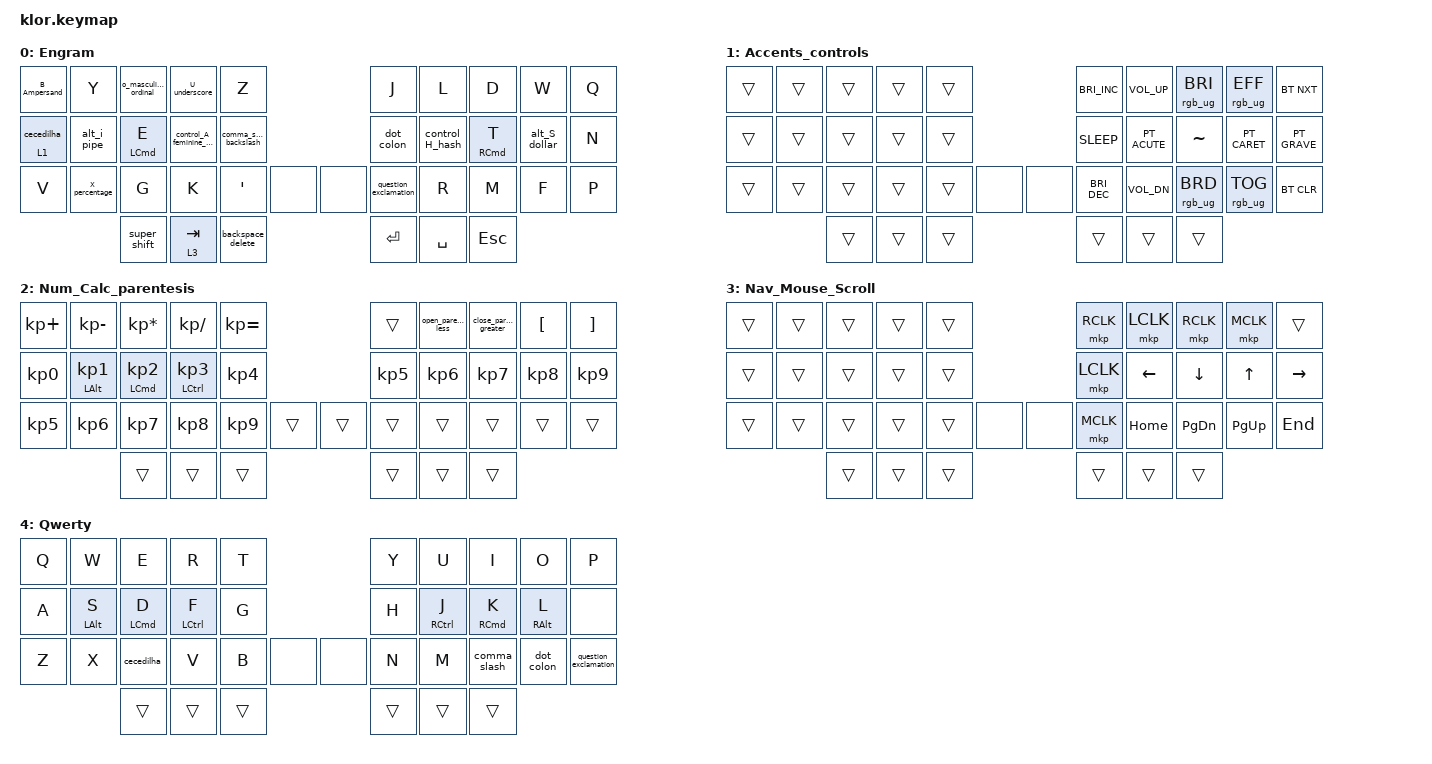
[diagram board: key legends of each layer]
//                               █         █    █            ▄▄▄▀▀▀▀▀▀▄▄▄        █▀▀▀▀▀▀▀▀▀▀█
//                               █        █     █          ▄▀            ▀▄      █          █
//                               █       █      █        ▄▀                ▀▄    █          █
//                               █      █       █        █                  █    █          █
//                               █     █        █       █                    █   █          █
//                               █    █         █       █                    █   █▄▄▄▄▄▄▄▄▄▄█
//                               █   █ █        █       █                    █   █      █
//                               █  █   █       █        █                  █    █       █
//                               █ █     █      █        ▀▄                ▄▀    █        █
//                               ██       █     █          ▀▄            ▄▀      █         █
//                               █         █    █▄▄▄▄▄▄▄▄    ▀▀▀▄▄▄▄▄▄▀▀▀        █          █
//
// ▄▄▄▄▄▄▄▄▄▄▄▄▄▄▄▄▄▄▄▄▄▄▄▄▄▄▄▄▄▄▄▄▄▄▄▄▄▄▄▄▄▄▄▄▄▄▄▄▄▄▄▄▄▄▄▄▄▄▄▄▄▄▄▄▄▄▄▄▄▄▄▄▄▄▄▄▄▄▄▄▄▄▄▄▄▄▄▄▄▄▄▄▄▄▄▄▄▄▄▄▄▄▄▄▄▄▄▄▄▄▄▄▄▄▄▄▄▄▄▄▄▄▄▄▄

#include "keys_pt_abnt2.h"
#include <behaviors.dtsi>
#include <dt-bindings/zmk/bt.h>
#include <dt-bindings/zmk/keys.h>
#include <dt-bindings/zmk/mouse.h>
#include <dt-bindings/zmk/rgb.h>

#define BASE   0
#define LOWER  1
#define RAISE  2
#define ADJUST 3

/ {
    behaviors {
        hm: homerow_mods {
            compatible = "zmk,behavior-hold-tap";
            label = "HOMEROW_MODS";
            #binding-cells = <2>;
            tapping-term-ms = <150>;
            quick_tap_ms = <0>;
            flavor = "tap-preferred";
            bindings = <&kp>, <&kp>;
        };

        cecedilha: cecedilha {
            compatible = "zmk,behavior-mod-morph";
            label = "CECEDILHA";
            bindings = <&kp C>, <&kp PT_C_CEDILLA>;

            #binding-cells = <0>;
            mods = <(MOD_LALT|MOD_RALT)>;
        };

        question_exclamation: question_exclamation {
            compatible = "zmk,behavior-mod-morph";
            label = "QUESTION_EXCLAMATION";
            bindings = <&kp QUESTION>, <&kp EXCLAMATION>;

            #binding-cells = <0>;
            mods = <(MOD_LSFT|MOD_RSFT)>;
        };

        dot_colon: dot_colon {
            compatible = "zmk,behavior-mod-morph";
            label = "DOT_COLON";
            bindings = <&kp PT_DOT>, <&kp PT_COLON>;

            #binding-cells = <0>;
            mods = <(MOD_LSFT|MOD_RSFT)>;
        };

        o_masculine_ordinal: o_masculine_ordinal {
            compatible = "zmk,behavior-mod-morph";
            label = "O_MASCULINE_ORDINAL";
            bindings = <&kp O>, <&kp PT_MASCULINE_ORDINAL_INDICATOR>;

            #binding-cells = <0>;
            mods = <(MOD_LALT|MOD_RALT)>;
        };

        control_S_dollar: control_S_dollar {
            compatible = "zmk,behavior-mod-morph";
            label = "CONTROL_S_DOLLAR";
            bindings = <&mt RIGHT_CONTROL S>, <&kp DOLLAR>;

            #binding-cells = <0>;
            mods = <(MOD_LALT|MOD_RALT)>;
        };

        command_H_hash: command_H_hash {
            compatible = "zmk,behavior-mod-morph";
            label = "COMMAND_H_HASH";
            bindings = <&mt RIGHT_COMMAND A>, <&kp HASH>;

            #binding-cells = <0>;
            mods = <(MOD_LALT|MOD_RALT)>;
        };

        control_A_feminine_ordinal: control_A_feminine_ordinal {
            compatible = "zmk,behavior-mod-morph";
            label = "CONTROL_A_FEMININE_ORDINAL";
            bindings =
                <&mt LEFT_CONTROL A>,
                <&kp PT_FEMININE_ORDINAL_INDICATOR>;

            #binding-cells = <0>;
            mods = <(MOD_LALT|MOD_RALT)>;
        };

        apost_slash: apost_slash {
            compatible = "zmk,behavior-mod-morph";
            label = "APOST_SLASH";
            bindings = <&kp APOS>, <&kp KP_SLASH>;

            #binding-cells = <0>;
            mods = <(MOD_LALT|MOD_RALT)>;
        };

        backspace_delete: backspace_delete {
            compatible = "zmk,behavior-mod-morph";
            label = "BACKSPACE_DELETE";
            bindings = <&kp BACKSPACE>, <&kp DELETE>;

            #binding-cells = <0>;
            mods = <(MOD_LCTL|MOD_RCTL)>;
        };

        hold_sticky: hold_sticky {
            compatible = "zmk,behavior-hold-tap";
            label = "HOLD_STICKY";
            bindings = <&kp>, <&sk>;

            #binding-cells = <2>;
            tapping-term-ms = <200>;
            flavor = "balanced";
        };

        super_shift: super_shift {
            compatible = "zmk,behavior-mod-morph";
            label = "SUPER_SHIFT";
            bindings = <&hold_sticky LEFT_SHIFT LEFT_SHIFT>, <&caps_word>;

            #binding-cells = <0>;
            mods = <(MOD_LSFT|MOD_RSFT)>;
        };

        control_H_hash: control_H_hash {
            compatible = "zmk,behavior-mod-morph";
            label = "CONTROL_H_HASH";
            bindings = <&hm RIGHT_CONTROL H>, <&kp HASH>;

            #binding-cells = <0>;
            mods = <(MOD_LALT|MOD_RALT)>;
        };

        alt_S_dollar: alt_S_dollar {
            compatible = "zmk,behavior-mod-morph";
            label = "ALT_S_DOLLAR";
            bindings = <&hm RIGHT_ALT S>, <&kp DOLLAR>;

            #binding-cells = <0>;
            mods = <(MOD_LALT|MOD_RALT)>;
        };

        comma_slash: comma_slash {
            compatible = "zmk,behavior-mod-morph";
            label = "COMMA_SLASH";
            bindings = <&kp PT_COMMA>, <&kp KP_SLASH>;

            #binding-cells = <0>;
            mods = <(MOD_LSFT|MOD_RSFT)>;
        };

        X_percentage: X_percentage {
            compatible = "zmk,behavior-mod-morph";
            label = "X_PERCENTAGE";
            bindings = <&kp X>, <&kp PERCENT>;

            #binding-cells = <0>;
            mods = <(MOD_LALT|MOD_RALT)>;
        };

        B_Ampersand: B_Ampersand {
            compatible = "zmk,behavior-mod-morph";
            label = "B_AMPERSAND";
            bindings = <&kp B>, <&kp AMPERSAND>;

            #binding-cells = <0>;
            mods = <(MOD_LALT|MOD_RALT)>;
        };

        alt_i_pipe: alt_i_pipe {
            compatible = "zmk,behavior-mod-morph";
            label = "ALT_I_PIPE";
            bindings = <&hm LEFT_ALT I>, <&kp PIPE>;

            #binding-cells = <0>;
            mods = <(MOD_LALT|MOD_RALT)>;
        };

        U_underscore: U_underscore {
            compatible = "zmk,behavior-mod-morph";
            label = "U_UNDERSCORE";
            bindings = <&kp U>, <&kp UNDERSCORE>;

            #binding-cells = <0>;
            mods = <(MOD_LALT|MOD_RALT)>;
        };

        comma_slash_backslash: comma_slash_backslash {
            compatible = "zmk,behavior-mod-morph";
            label = "COMMA_SLASH_BACKSLASH";
            bindings = <&comma_slash>, <&kp PT_BACKSLASH>;

            #binding-cells = <0>;
            mods = <(MOD_LALT|MOD_RALT)>;
        };

        open_parentesis_less: open_parentesis_less {
            compatible = "zmk,behavior-mod-morph";
            label = "OPEN_PARENTESIS_LESS";
            bindings = <&kp LEFT_PARENTHESIS>, <&kp LESS_THAN>;

            #binding-cells = <0>;
            mods = <(MOD_LSFT|MOD_RSFT)>;
        };

        close_parentesis_greater: close_parentesis_greater {
            compatible = "zmk,behavior-mod-morph";
            label = "CLOSE_PARENTESIS_GREATER";
            bindings = <&kp RIGHT_PARENTHESIS>, <&kp GREATER_THAN>;

            #binding-cells = <0>;
            mods = <(MOD_LSFT|MOD_RSFT)>;
        };

        command_T_shift_same: command_T_shift_same {
            compatible = "zmk,behavior-mod-morph";
            label = "COMMAND_T_SHIFT_SAME";
            bindings = <&kp LG(T)>, <&kp LS(LG(T))>;

            #binding-cells = <0>;
            mods = <(MOD_LSFT|MOD_RSFT)>;
        };

        command_R_shift_same: command_R_shift_same {
            compatible = "zmk,behavior-mod-morph";
            label = "COMMAND_R_SHIFT_SAME";
            bindings = <&kp LG(R)>, <&kp LS(LG(R))>;

            #binding-cells = <0>;
            mods = <(MOD_LSFT|MOD_RSFT)>;
        };

        accents_C_Cedilha: accents_C_Cedilha {
            compatible = "zmk,behavior-hold-tap";
            label = "ACCENTS_C_CEDILHA";
            bindings = <&mo>, <&cecedilha>;

            #binding-cells = <2>;
            tapping-term-ms = <150>;
            flavor = "tap-preferred";
        };
    };

    combos {
        compatible = "zmk,combos";

        Esc_one_handed {
            bindings = <&kp ESC>;
            key-positions = <0 1>;
            require-prior-idle-ms = <150>;
        };

        semicolon {
            bindings = <&kp SEMICOLON>;
            key-positions = <15 14>;
            layers = <0>;
        };

        at_sign {
            bindings = <&kp AT_SIGN>;
            key-positions = <13 2>;
            layers = <0>;
            require-prior-idle-ms = <150>;
        };

        enter_one_handed {
            bindings = <&kp ENTER>;
            key-positions = <22 23>;
            require-prior-idle-ms = <150>;
        };

        to_engram {
            bindings = <&to 0>;
            key-positions = <3 34>;
            layers = <1 2 3 4>;
        };

        to_num {
            bindings = <&to 2>;
            key-positions = <2 34>;
            layers = <0 3 4>;
        };

        to_nav {
            bindings = <&to 3>;
            key-positions = <1 34>;
            layers = <0 2 1 4>;
        };

        to_QWERTY {
            bindings = <&to 4>;
            key-positions = <0 34>;
            layers = <0 1 2 3>;
        };

        command_Q {
            bindings = <&kp LG(Q)>;
            key-positions = <24 34>;
        };

        command_W {
            bindings = <&kp LG(W)>;
            key-positions = <23 34>;
        };

        command_T {
            bindings = <&kp LG(T)>;
            key-positions = <22 34>;
        };

        command_N {
            bindings = <&kp LG(N)>;
            key-positions = <21 34>;
        };

        command_R {
            bindings = <&kp LG(R)>;
            key-positions = <20 34>;
        };
    };

    keymap {
        compatible = "zmk,keymap";

        // ▄▄▄▄▄▄▄▄▄▄▄▄▄▄▄▄▄▄▄▄▄▄▄▄▄▄▄▄▄▄▄▄▄▄▄▄▄▄▄▄▄▄▄▄▄▄▄▄▄▄▄▄▄▄▄▄▄▄▄▄▄▄▄▄▄▄▄▄▄▄▄▄▄▄▄▄▄▄▄▄▄▄▄▄▄▄▄▄▄▄▄▄▄▄▄▄▄▄▄▄▄▄▄▄▄▄▄▄▄▄▄▄▄▄▄▄▄▄▄▄▄▄▄▄▄▄▄▄▄▄▄▄▄▄▄▄▄▄▄▄▄▄

        Engram {
            bindings = <
&B_Ampersand            &kp Y          &o_masculine_ordinal  &U_underscore                &kp Z                                 &kp J                  &kp L            &kp D                &kp W          &kp Q
&accents_C_Cedilha 1 0  &alt_i_pipe    &hm LEFT_COMMAND E    &control_A_feminine_ordinal  &comma_slash_backslash                &dot_colon             &control_H_hash  &hm RIGHT_COMMAND T  &alt_S_dollar  &kp N
&kp V                   &X_percentage  &kp G                 &kp K                        &kp APOS                &none  &none  &question_exclamation  &kp R            &kp M                &kp F          &kp P
                                       &super_shift          &lt 3 TAB                    &backspace_delete                     &kp ENTER              &kp SPACE        &kp ESC
            >;
        };

        Accents_controls {
            bindings = <
&trans  &trans  &trans  &trans  &trans                &kp C_BRIGHTNESS_INC  &kp C_VOLUME_UP  &rgb_ug RGB_BRI  &rgb_ug RGB_EFF  &bt BT_NXT
&trans  &trans  &trans  &trans  &trans                &kp C_SLEEP           &kp PT_ACUTE     &kp TILDE        &kp PT_CARET     &kp PT_GRAVE
&trans  &trans  &trans  &trans  &trans  &none  &none  &kp C_BRIGHTNESS_DEC  &kp C_VOL_DN     &rgb_ug RGB_BRD  &rgb_ug RGB_TOG  &bt BT_CLR
                &trans  &trans  &trans                &trans                &trans           &trans
            >;
        };

        Num_Calc_parentesis {
            bindings = <
&kp KP_PLUS      &kp KP_MINUS              &kp KP_MULTIPLY               &kp KP_SLASH                  &kp KP_EQUAL                     &trans           &open_parentesis_less  &close_parentesis_greater  &kp LEFT_BRACKET  &kp RIGHT_BRACKET
&kp KP_NUMBER_0  &hm LEFT_ALT KP_NUMBER_1  &hm LEFT_COMMAND KP_NUMBER_2  &hm LEFT_CONTROL KP_NUMBER_3  &kp KP_NUMBER_4                  &kp KP_NUMBER_5  &kp KP_NUMBER_6        &kp KP_NUMBER_7            &kp KP_NUMBER_8   &kp KP_NUMBER_9
&kp KP_NUMBER_5  &kp KP_NUMBER_6           &kp KP_NUMBER_7               &kp KP_NUMBER_8               &kp KP_NUMBER_9  &trans  &trans  &trans           &trans                 &trans                     &trans            &trans
                                           &trans                        &trans                        &trans                           &trans           &trans                 &trans
            >;
        };

        Nav_Mouse_Scroll {
            bindings = <
&trans  &trans  &trans  &trans  &trans                &mkp RCLK  &mkp LCLK       &mkp RCLK      &mkp MCLK    &trans
&trans  &trans  &trans  &trans  &trans                &mkp LCLK  &kp LEFT_ARROW  &kp DOWN       &kp UP       &kp RIGHT
&trans  &trans  &trans  &trans  &trans  &none  &none  &mkp MCLK  &kp HOME        &kp PAGE_DOWN  &kp PAGE_UP  &kp END
                &trans  &trans  &trans                &trans     &trans          &trans
            >;
        };

        Qwerty {
            bindings = <
&kp Q  &kp W           &kp E               &kp R               &kp T                 &kp Y   &kp U                &kp I                &kp O            &kp P
&kp A  &hm LEFT_ALT S  &hm LEFT_COMMAND D  &hm LEFT_CONTROL F  &kp G                 &kp H   &hm RIGHT_CONTROL J  &hm RIGHT_COMMAND K  &hm RIGHT_ALT L  &none
&kp Z  &kp X           &cecedilha          &kp V               &kp B   &none  &none  &kp N   &kp M                &comma_slash         &dot_colon       &question_exclamation
                       &trans              &trans              &trans                &trans  &trans               &trans
            >;
        };
    };
};
